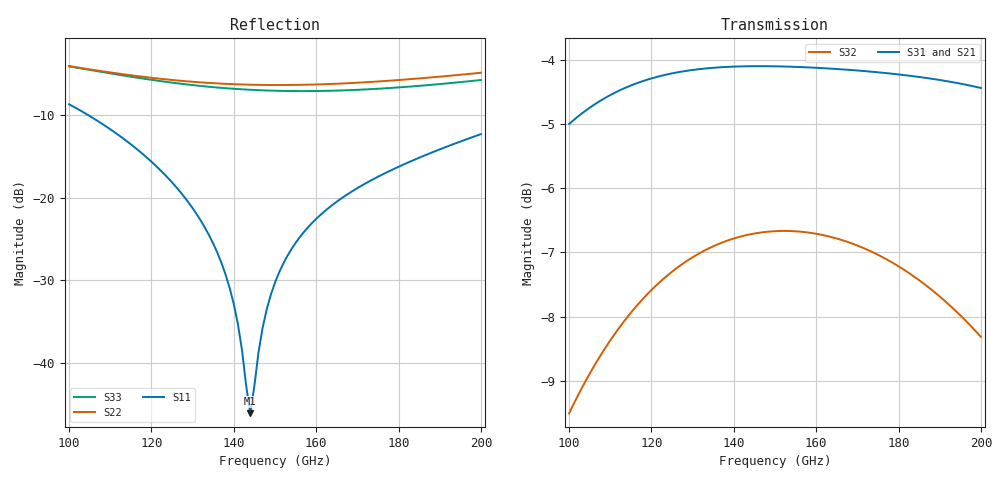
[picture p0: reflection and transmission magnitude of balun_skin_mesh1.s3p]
! Created with skrf 2.2.0 (http://scikit-rf.org).
# GHz S DB R 50.0
! Port[1] = P1
! Port[2] = P2
! Port[3] = P3
!freq dBS11 angS11 dBS12 angS12 dBS13 angS13
! dBS21 angS21 dBS22 angS22 dBS23 angS23
! dBS31 angS31 dBS32 angS32 dBS33 angS33
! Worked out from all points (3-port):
!   101 points, 100 GHz to 200 GHz, reference 50 ohm
!   strongest paths, dB at 100 GHz, 125 GHz, 150 GHz, 175 GHz, 200 GHz:
!     S31: -5.0, -4.2, -4.1, -4.2, -4.4
!     S21: -4.7, -4.1, -4.1, -4.3, -4.8
!     S32: -9.5, -7.3, -6.7, -7.0, -8.3
!   lowest |S11| = -46.1 dB at 144 GHz (marker M1), VSWR 1.01, Z = 49.5 + j0.0893 ohm
!   |S11| at or under -10 dB: 104.8 GHz to end of sweep
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100  -8.65 128.2  -4.71 -11.7  -4.99 164.9
     -4.71 -11.7  -4.02 59.4  -9.51 90.8
     -4.99 164.9  -9.51 90.8  -4.04 49.3
120  -15.61 102.3  -4.12 -42.1  -4.28 132.4
     -4.12 -42.1  -5.43 41.8  -7.58 60.8
     -4.28 132.4  -7.58 60.8  -5.68 28.8
133  -23.62 91.7  -4.03 -60.0  -4.13 113.4
     -4.03 -60.0  -6.02 32.1  -6.97 43.0
     -4.13 113.4  -6.97 43.0  -6.47 17.9
140  -32.89 94.2  -4.04 -69.0  -4.10 103.7
     -4.04 -69.0  -6.21 27.2  -6.78 33.9
     -4.10 103.7  -6.78 33.9  -6.77 12.5
144  -46.12 169.5  -4.05 -74.1  -4.09 98.3
     -4.05 -74.1  -6.27 24.3  -6.72 28.8
     -4.09 98.3  -6.72 28.8  -6.88 9.4
147  -35.73 -121.0  -4.07 -77.9  -4.09 94.3
     -4.07 -77.9  -6.30 22.2  -6.68 25.0
     -4.09 94.3  -6.68 25.0  -6.95 7.2
150  -30.27 -114.6  -4.09 -81.6  -4.09 90.4
     -4.09 -81.6  -6.31 20.0  -6.67 21.3
     -4.09 90.4  -6.67 21.3  -7.00 5.0
156  -24.78 -113.7  -4.13 -88.9  -4.11 82.6
     -4.13 -88.9  -6.29 15.6  -6.67 14.0
     -4.11 82.6  -6.67 14.0  -7.04 0.5
165  -20.46 -116.3  -4.22 -99.7  -4.14 71.1
     -4.22 -99.7  -6.15 8.7  -6.78 3.3
     -4.14 71.1  -6.78 3.3  -6.98 -6.4
200  -12.27 -133.3  -4.84 -141.6  -4.43 26.8
     -4.84 -141.6  -4.82 -21.7  -8.32 -37.6
     -4.43 26.8  -8.32 -37.6  -5.71 -35.8
